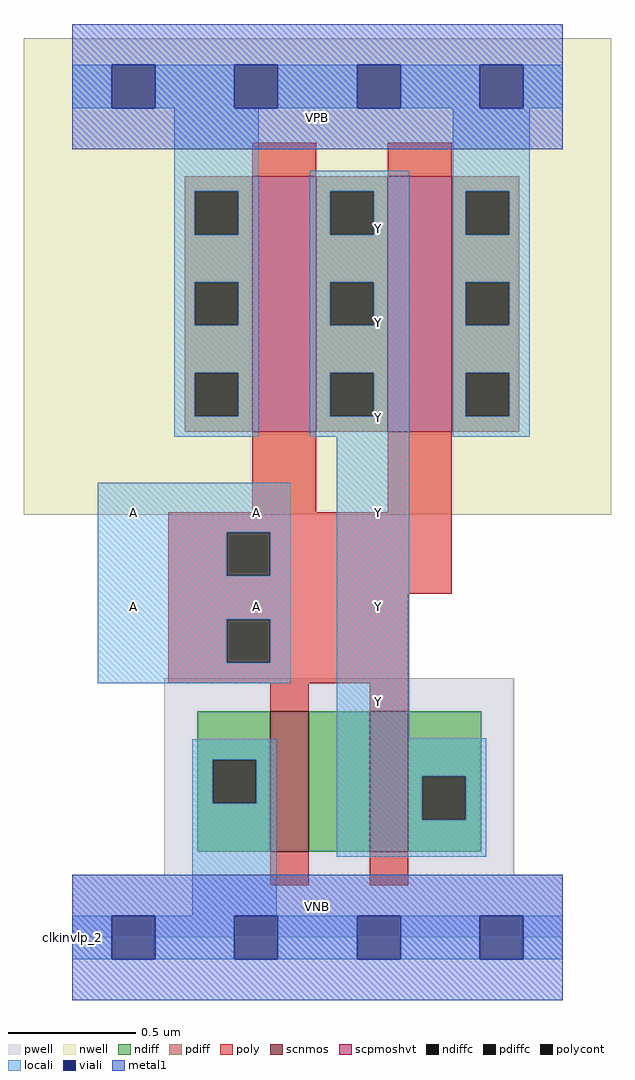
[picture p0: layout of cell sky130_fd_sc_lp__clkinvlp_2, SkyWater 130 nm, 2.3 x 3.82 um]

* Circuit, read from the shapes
.subckt sky130_fd_sc_lp__clkinvlp_2 A VGND VNB VPB VPWR Y
XM1 n1 A VGND VNB sky130_fd_pr__nfet_01v8 w=0.55 l=0.15
XM2 Y A n1 VNB sky130_fd_pr__nfet_01v8 w=0.55 l=0.15
XM3 Y A VPWR VPB sky130_fd_pr__pfet_01v8_hvt w=1 l=0.25 m=2
.ends

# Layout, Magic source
magic
tech sky130A
magscale 1 2
<< nwell >>
rect -38 331 422 704
<< pwell >>
rect 72 49 346 203
rect 0 0 384 49
<< scnmos >>
rect 155 67 185 177
rect 233 67 263 177
<< scpmoshvt >>
rect 141 396 191 596
rect 247 396 297 596
<< ndiff >>
rect 98 139 155 177
rect 98 105 110 139
rect 144 105 155 139
rect 98 67 155 105
rect 185 67 233 177
rect 263 126 320 177
rect 263 92 274 126
rect 308 92 320 126
rect 263 67 320 92
<< pdiff >>
rect 88 584 141 596
rect 88 550 96 584
rect 130 550 141 584
rect 88 513 141 550
rect 88 479 96 513
rect 130 479 141 513
rect 88 442 141 479
rect 88 408 96 442
rect 130 408 141 442
rect 88 396 141 408
rect 191 584 247 596
rect 191 550 202 584
rect 236 550 247 584
rect 191 513 247 550
rect 191 479 202 513
rect 236 479 247 513
rect 191 442 247 479
rect 191 408 202 442
rect 236 408 247 442
rect 191 396 247 408
rect 297 584 350 596
rect 297 550 308 584
rect 342 550 350 584
rect 297 513 350 550
rect 297 479 308 513
rect 342 479 350 513
rect 297 442 350 479
rect 297 408 308 442
rect 342 408 350 442
rect 297 396 350 408
<< ndiffc >>
rect 110 105 144 139
rect 274 92 308 126
<< pdiffc >>
rect 96 550 130 584
rect 96 479 130 513
rect 96 408 130 442
rect 202 550 236 584
rect 202 479 236 513
rect 202 408 236 442
rect 308 550 342 584
rect 308 479 342 513
rect 308 408 342 442
<< poly >>
rect 141 596 191 622
rect 247 596 297 622
rect 141 333 191 396
rect 247 333 297 396
rect 75 317 297 333
rect 75 283 121 317
rect 155 283 297 317
rect 75 269 297 283
rect 75 249 263 269
rect 75 215 121 249
rect 155 215 263 249
rect 75 199 263 215
rect 155 177 185 199
rect 233 177 263 199
rect 155 41 185 67
rect 233 41 263 67
<< polycont >>
rect 121 283 155 317
rect 121 215 155 249
<< locali >>
rect 0 649 31 683
rect 65 649 127 683
rect 161 649 223 683
rect 257 649 319 683
rect 353 649 384 683
rect 80 584 146 649
rect 80 550 96 584
rect 130 550 146 584
rect 80 513 146 550
rect 80 479 96 513
rect 130 479 146 513
rect 80 442 146 479
rect 80 408 96 442
rect 130 408 146 442
rect 80 392 146 408
rect 186 584 264 600
rect 186 550 202 584
rect 236 550 264 584
rect 186 513 264 550
rect 186 479 202 513
rect 236 479 264 513
rect 186 442 264 479
rect 186 408 202 442
rect 236 408 264 442
rect 186 392 264 408
rect 298 584 358 649
rect 298 550 308 584
rect 342 550 358 584
rect 298 513 358 550
rect 298 479 308 513
rect 342 479 358 513
rect 298 442 358 479
rect 298 408 308 442
rect 342 408 358 442
rect 298 392 358 408
rect 20 317 171 356
rect 20 283 121 317
rect 155 283 171 317
rect 20 249 171 283
rect 20 215 121 249
rect 155 215 171 249
rect 20 199 171 215
rect 207 156 264 392
rect 94 139 160 155
rect 94 105 110 139
rect 144 105 160 139
rect 94 17 160 105
rect 207 126 324 156
rect 207 92 274 126
rect 308 92 324 126
rect 207 63 324 92
rect 0 -17 31 17
rect 65 -17 127 17
rect 161 -17 223 17
rect 257 -17 319 17
rect 353 -17 384 17
<< viali >>
rect 31 649 65 683
rect 127 649 161 683
rect 223 649 257 683
rect 319 649 353 683
rect 31 -17 65 17
rect 127 -17 161 17
rect 223 -17 257 17
rect 319 -17 353 17
<< metal1 >>
rect 0 683 384 715
rect 0 649 31 683
rect 65 649 127 683
rect 161 649 223 683
rect 257 649 319 683
rect 353 649 384 683
rect 0 617 384 649
rect 0 17 384 49
rect 0 -17 31 17
rect 65 -17 127 17
rect 161 -17 223 17
rect 257 -17 319 17
rect 353 -17 384 17
rect 0 -49 384 -17
<< labels >>
flabel pwell s 0 0 384 49 0 FreeSans 200 0 0 0 VNB
port 3 nsew ground bidirectional
flabel nwell s 0 617 384 666 0 FreeSans 200 0 0 0 VPB
port 4 nsew power bidirectional
rlabel comment s 0 0 0 0 4 clkinvlp_2
flabel metal1 s 0 617 384 666 0 FreeSans 340 0 0 0 VPWR
port 5 nsew power bidirectional
flabel metal1 s 0 0 384 49 0 FreeSans 340 0 0 0 VGND
port 2 nsew ground bidirectional
flabel locali s 31 242 65 276 0 FreeSans 340 0 0 0 A
port 1 nsew signal input
flabel locali s 127 316 161 350 0 FreeSans 340 0 0 0 A
port 1 nsew signal input
flabel locali s 127 242 161 276 0 FreeSans 340 0 0 0 A
port 1 nsew signal input
flabel locali s 31 316 65 350 0 FreeSans 340 0 0 0 A
port 1 nsew signal input
flabel locali s 223 168 257 202 0 FreeSans 340 0 0 0 Y
port 6 nsew signal output
flabel locali s 223 242 257 276 0 FreeSans 340 0 0 0 Y
port 6 nsew signal output
flabel locali s 223 316 257 350 0 FreeSans 340 0 0 0 Y
port 6 nsew signal output
flabel locali s 223 390 257 424 0 FreeSans 340 0 0 0 Y
port 6 nsew signal output
flabel locali s 223 464 257 498 0 FreeSans 340 0 0 0 Y
port 6 nsew signal output
flabel locali s 223 538 257 572 0 FreeSans 340 0 0 0 Y
port 6 nsew signal output
<< properties >>
string LEFsite unit
string LEFclass CORE
string FIXED_BBOX 0 0 384 666
string GDS_FILE $PDKPATH/libs.ref/sky130_fd_sc_lp/gds/sky130_fd_sc_lp.gds
string LEFsymmetry X Y R90
string GDS_END 2205924
string GDS_START 2201400
<< end >>
